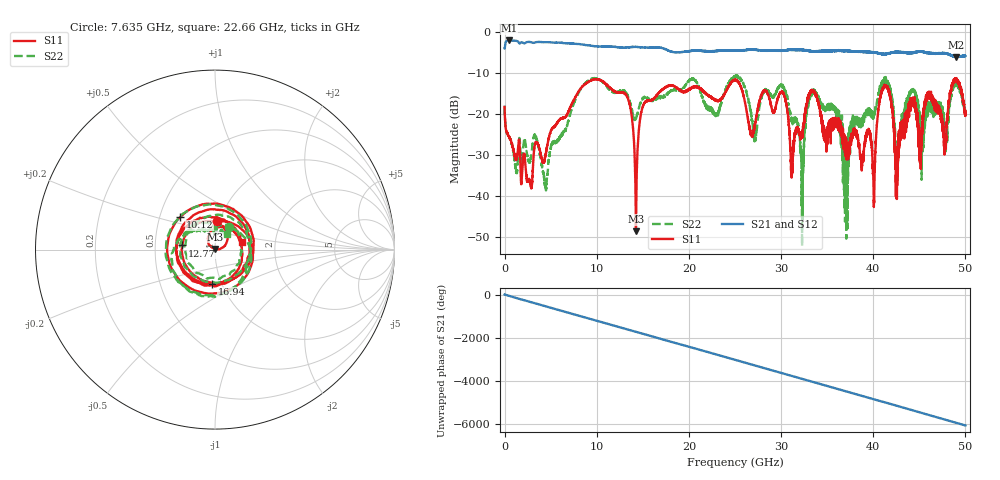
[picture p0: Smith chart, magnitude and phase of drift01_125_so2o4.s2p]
!Created with skrf (http://scikit-rf.org).
# Hz S RI R 50.0
!freq ReS11 ImS11 ReS21 ImS21 ReS12 ImS12 ReS22 ImS22
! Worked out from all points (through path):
!   10001 points, 300 kHz to 50 GHz, reference 50 ohm
!   highest |S21| = -2.00 dB at 490.3 MHz (marker M1); lowest = -6.1 dB at 48.98 GHz (marker M2)
!   group delay of S21, straight-line fit = 336 ps
!   lowest |S11| = -48.6 dB at 14.25 GHz (marker M3), VSWR 1.01, Z = 50.1 + j0.361 ohm
!   |S11| at or under -10 dB: start of sweep to end of sweep
!   |S22| runs from -52.2 to -10.5 dB; largest |S21 - S12| = 0.023
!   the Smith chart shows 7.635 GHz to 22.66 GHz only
!   S11 on the Smith chart (normalised r, x): 7.635 GHz: 0.98, +0.32; 10.12 GHz: 0.64, +0.25; 12.77 GHz: 0.69, +0.03; 16.94 GHz: 0.90, -0.36; 22.66 GHz: 1.34, +0.11
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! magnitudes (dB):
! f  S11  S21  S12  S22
! 300 kHz  -18.2  -4.0  -4.1  -17.9
! 490.3 MHz  -25.6  -2.0  -2.0  -25.5
! 4.445 GHz  -29.9  -2.4  -2.4  -37.6
! 7.635 GHz  -16.0  -2.8  -2.8  -16.7
! 8.335 GHz  -13.5  -3.0  -3.0  -13.5
! 10.12 GHz  -11.5  -3.4  -3.4  -11.4
! 12.77 GHz  -14.7  -3.7  -3.7  -14.3
! 14.25 GHz  -48.6  -3.6  -3.6  -21.2
! 16.67 GHz  -14.9  -3.7  -3.7  -15.8
! 16.94 GHz  -14.3  -3.8  -3.8  -15.8
! 22.66 GHz  -16.3  -4.6  -4.6  -19.2
! 25 GHz  -11.6  -4.5  -4.5  -11.0
! 27.15 GHz  -22.5  -4.2  -4.3  -26.1
! 30.21 GHz  -14.9  -4.5  -4.5  -13.3
! 32.27 GHz  -25.3  -4.3  -4.3  -41.4
! 33.34 GHz  -14.2  -4.6  -4.6  -14.8
! 37.02 GHz  -26.8  -4.5  -4.5  -36.5
! 40.06 GHz  -40.5  -4.9  -4.9  -20.3
! 41.67 GHz  -14.0  -5.1  -5.1  -12.7
! 42.56 GHz  -35.9  -4.8  -4.8  -29.6
! 48.98 GHz  -11.4  -6.1  -6.0  -12.6
! 50 GHz  -19.7  -5.8  -5.8  -19.4
